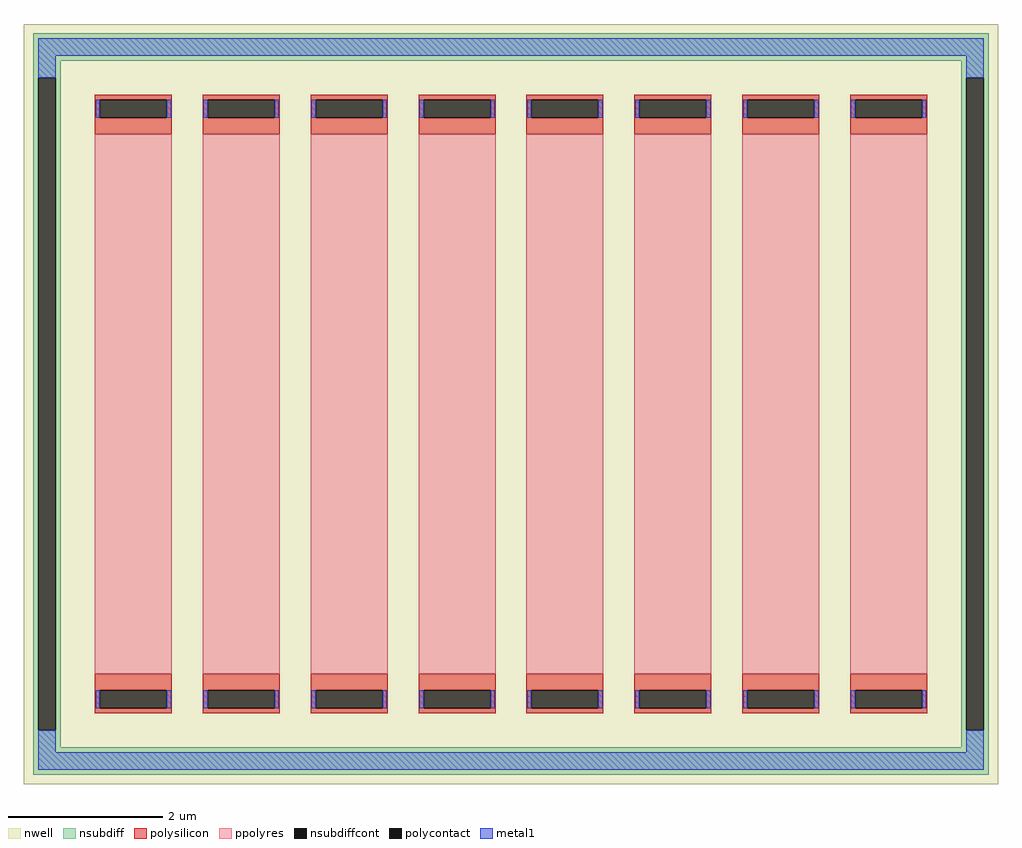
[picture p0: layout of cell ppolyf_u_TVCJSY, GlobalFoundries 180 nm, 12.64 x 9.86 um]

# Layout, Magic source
magic
tech gf180mcuC
magscale 1 10
<< nwell >>
rect -1264 -986 1264 986
<< nsubdiff >>
rect -1240 890 1240 962
rect -1240 846 -1168 890
rect -1240 -846 -1227 846
rect -1181 -846 -1168 846
rect 1168 846 1240 890
rect -1240 -890 -1168 -846
rect 1168 -846 1181 846
rect 1227 -846 1240 846
rect 1168 -890 1240 -846
rect -1240 -962 1240 -890
<< nsubdiffcont >>
rect -1227 -846 -1181 846
rect 1181 -846 1227 846
<< polysilicon >>
rect -1080 789 -880 802
rect -1080 743 -1067 789
rect -893 743 -880 789
rect -1080 700 -880 743
rect -1080 -743 -880 -700
rect -1080 -789 -1067 -743
rect -893 -789 -880 -743
rect -1080 -802 -880 -789
rect -800 789 -600 802
rect -800 743 -787 789
rect -613 743 -600 789
rect -800 700 -600 743
rect -800 -743 -600 -700
rect -800 -789 -787 -743
rect -613 -789 -600 -743
rect -800 -802 -600 -789
rect -520 789 -320 802
rect -520 743 -507 789
rect -333 743 -320 789
rect -520 700 -320 743
rect -520 -743 -320 -700
rect -520 -789 -507 -743
rect -333 -789 -320 -743
rect -520 -802 -320 -789
rect -240 789 -40 802
rect -240 743 -227 789
rect -53 743 -40 789
rect -240 700 -40 743
rect -240 -743 -40 -700
rect -240 -789 -227 -743
rect -53 -789 -40 -743
rect -240 -802 -40 -789
rect 40 789 240 802
rect 40 743 53 789
rect 227 743 240 789
rect 40 700 240 743
rect 40 -743 240 -700
rect 40 -789 53 -743
rect 227 -789 240 -743
rect 40 -802 240 -789
rect 320 789 520 802
rect 320 743 333 789
rect 507 743 520 789
rect 320 700 520 743
rect 320 -743 520 -700
rect 320 -789 333 -743
rect 507 -789 520 -743
rect 320 -802 520 -789
rect 600 789 800 802
rect 600 743 613 789
rect 787 743 800 789
rect 600 700 800 743
rect 600 -743 800 -700
rect 600 -789 613 -743
rect 787 -789 800 -743
rect 600 -802 800 -789
rect 880 789 1080 802
rect 880 743 893 789
rect 1067 743 1080 789
rect 880 700 1080 743
rect 880 -743 1080 -700
rect 880 -789 893 -743
rect 1067 -789 1080 -743
rect 880 -802 1080 -789
<< polycontact >>
rect -1067 743 -893 789
rect -1067 -789 -893 -743
rect -787 743 -613 789
rect -787 -789 -613 -743
rect -507 743 -333 789
rect -507 -789 -333 -743
rect -227 743 -53 789
rect -227 -789 -53 -743
rect 53 743 227 789
rect 53 -789 227 -743
rect 333 743 507 789
rect 333 -789 507 -743
rect 613 743 787 789
rect 613 -789 787 -743
rect 893 743 1067 789
rect 893 -789 1067 -743
<< ppolyres >>
rect -1080 -700 -880 700
rect -800 -700 -600 700
rect -520 -700 -320 700
rect -240 -700 -40 700
rect 40 -700 240 700
rect 320 -700 520 700
rect 600 -700 800 700
rect 880 -700 1080 700
<< metal1 >>
rect -1227 903 1227 949
rect -1227 846 -1181 903
rect 1181 846 1227 903
rect -1078 743 -1067 789
rect -893 743 -882 789
rect -798 743 -787 789
rect -613 743 -602 789
rect -518 743 -507 789
rect -333 743 -322 789
rect -238 743 -227 789
rect -53 743 -42 789
rect 42 743 53 789
rect 227 743 238 789
rect 322 743 333 789
rect 507 743 518 789
rect 602 743 613 789
rect 787 743 798 789
rect 882 743 893 789
rect 1067 743 1078 789
rect -1078 -789 -1067 -743
rect -893 -789 -882 -743
rect -798 -789 -787 -743
rect -613 -789 -602 -743
rect -518 -789 -507 -743
rect -333 -789 -322 -743
rect -238 -789 -227 -743
rect -53 -789 -42 -743
rect 42 -789 53 -743
rect 227 -789 238 -743
rect 322 -789 333 -743
rect 507 -789 518 -743
rect 602 -789 613 -743
rect 787 -789 798 -743
rect 882 -789 893 -743
rect 1067 -789 1078 -743
rect -1227 -903 -1181 -846
rect 1181 -903 1227 -846
rect -1227 -949 1227 -903
<< properties >>
string FIXED_BBOX -1204 -926 1204 926
string gencell ppolyf_u
string library gf180mcu
string parameters w 1.0 l 7.0 m 1 nx 8 wmin 0.80 lmin 1.00 rho 315 val 2.37k dummy 0 dw 0.07 term 0.0 sterm 0.0 caplen 0.4 snake 0 glc 1 grc 1 gtc 0 gbc 0 roverlap 0 endcov 100 full_metal 1
<< end >>
